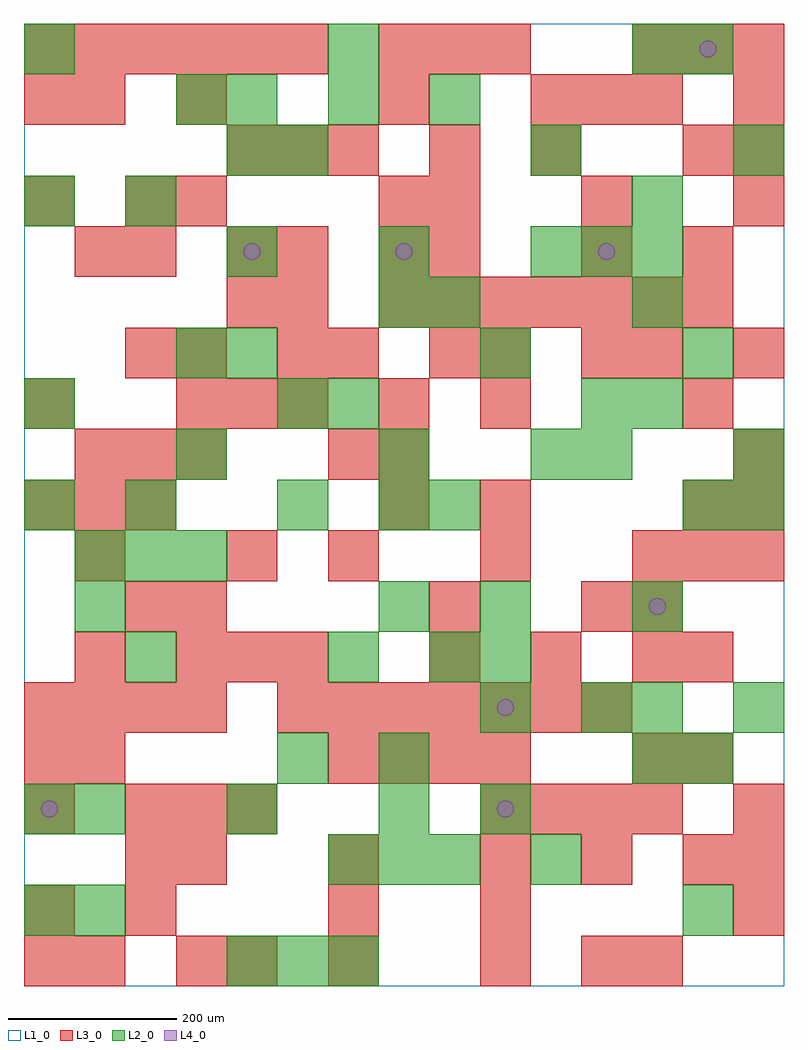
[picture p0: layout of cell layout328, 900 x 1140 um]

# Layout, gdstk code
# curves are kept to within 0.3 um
import gdstk
lib = gdstk.Library(unit=1e-6, precision=1e-09)
def R(c, l, rs):  # rectangles x0, y0, x1, y1
    for r in rs: c.add(gdstk.rectangle(r[:2], r[2:], *l))
def A(c, l, x, y, w, h, nx, ny, dx, dy):  # array of equal rectangles
    R(c, l, [(x+i*dx, y+j*dy, x+i*dx+w, y+j*dy+h) for i in range(nx) for j in range(ny)])
def P(c, l, *ps):  # polygons
    for p in ps: c.add(gdstk.Polygon(p, *l))
L1_0 = (1, 0)
L2_0 = (2, 0)
L3_0 = (3, 0)
L4_0 = (4, 0)

layout328 = lib.new_cell('layout328')
R(layout328, L1_0, [(0,0,900,1140)])
A(layout328, L2_0, 240, 0, 60, 60, 3, 1, 60, 0)
A(layout328, L2_0, 360, 120, 60, 60, 3, 1, 60, 0)
A(layout328, L2_0, 60, 180, 60, 60, 3, 1, 180, 0)
A(layout328, L2_0, 540, 300, 60, 60, 1, 3, 0, 60)
A(layout328, L2_0, 60, 480, 60, 60, 3, 1, 60, 0)
A(layout328, L2_0, 720, 780, 60, 60, 1, 3, 0, 60)
A(layout328, L2_0, 240, 840, 60, 60, 3, 1, 180, 0)
A(layout328, L2_0, 240, 1020, 60, 60, 3, 1, 120, 0)
A(layout328, L2_0, 0, 1080, 60, 60, 3, 1, 360, 0)
R(layout328, L2_0, [(0,60,60,120), (60,60,120,120), (780,60,840,120), (600,120,660,180), (0,180,60,240), (540,180,600,240), (300,240,360,300), (420,240,480,300), (720,240,780,300), (780,240,840,300), (660,300,720,360), (720,300,780,360), (840,300,900,360), (120,360,180,420), (360,360,420,420), (480,360,540,420), (60,420,120,480), (420,420,480,480), (720,420,780,480), (0,540,60,600), (120,540,180,600), (300,540,360,600), (420,540,480,600), (480,540,540,600), (780,540,840,600), (840,540,900,600), (180,600,240,660), (420,600,480,660), (600,600,660,660), (660,600,720,660), (840,600,900,660), (0,660,60,720), (300,660,360,720), (360,660,420,720), (660,660,720,720), (720,660,780,720), (180,720,240,780), (240,720,300,780), (540,720,600,780), (780,720,840,780), (420,780,480,840), (480,780,540,840), (660,840,720,900), (0,900,60,960), (120,900,180,960), (240,960,300,1020), (300,960,360,1020), (600,960,660,1020), (840,960,900,1020), (180,1020,240,1080), (780,1080,840,1140)])
A(layout328, L3_0, 840, 60, 60, 60, 1, 3, 0, 60)
A(layout328, L3_0, 120, 120, 60, 60, 1, 3, 0, 300)
A(layout328, L3_0, 180, 120, 60, 60, 3, 1, 180, 0)
A(layout328, L3_0, 660, 120, 60, 60, 1, 3, 0, 300)
A(layout328, L3_0, 780, 120, 60, 60, 1, 4, 0, 120)
A(layout328, L3_0, 120, 180, 60, 60, 3, 1, 60, 0)
A(layout328, L3_0, 540, 180, 60, 60, 4, 1, 60, 0)
A(layout328, L3_0, 60, 240, 60, 60, 1, 3, 0, 120)
A(layout328, L3_0, 360, 240, 60, 60, 4, 1, 60, 0)
A(layout328, L3_0, 0, 300, 60, 60, 4, 1, 60, 0)
A(layout328, L3_0, 300, 300, 60, 60, 7, 1, 60, 0)
A(layout328, L3_0, 180, 360, 60, 60, 3, 2, 60, 300)
A(layout328, L3_0, 480, 360, 60, 60, 3, 1, 120, 0)
A(layout328, L3_0, 360, 480, 60, 60, 3, 1, 180, 0)
A(layout328, L3_0, 840, 480, 60, 60, 1, 3, 0, 60)
A(layout328, L3_0, 0, 540, 60, 60, 3, 1, 60, 0)
A(layout328, L3_0, 420, 540, 60, 60, 1, 3, 0, 60)
A(layout328, L3_0, 60, 600, 60, 60, 3, 1, 60, 0)
A(layout328, L3_0, 300, 720, 60, 60, 1, 3, 0, 60)
A(layout328, L3_0, 480, 720, 60, 60, 1, 3, 0, 120)
A(layout328, L3_0, 420, 780, 60, 60, 7, 1, 60, 0)
A(layout328, L3_0, 480, 900, 60, 60, 3, 1, 180, 0)
A(layout328, L3_0, 240, 960, 60, 60, 3, 1, 60, 0)
A(layout328, L3_0, 600, 1020, 60, 60, 3, 1, 60, 0)
A(layout328, L3_0, 0, 1080, 60, 60, 6, 1, 60, 0)
A(layout328, L3_0, 420, 1080, 60, 60, 3, 1, 60, 0)
A(layout328, L3_0, 720, 1080, 60, 60, 3, 1, 60, 0)
R(layout328, L3_0, [(0,0,60,60), (60,0,120,60), (180,0,240,60), (240,0,300,60), (360,0,420,60), (540,0,600,60), (660,0,720,60), (720,0,780,60), (0,60,60,120), (120,60,180,120), (360,60,420,120), (540,60,600,120), (0,180,60,240), (0,240,60,300), (720,240,780,300), (180,420,240,480), (480,420,540,480), (720,420,780,480), (240,480,300,540), (540,540,600,600), (780,540,840,600), (360,600,420,660), (0,660,60,720), (540,660,600,720), (780,660,840,720), (180,720,240,780), (360,720,420,780), (540,720,600,780), (720,720,780,780), (840,720,900,780), (240,780,300,840), (60,840,120,900), (120,840,180,900), (240,840,300,900), (420,840,480,900), (660,840,720,900), (780,840,840,900), (0,900,60,960), (120,900,180,960), (180,900,240,960), (420,900,480,960), (600,960,660,1020), (780,960,840,1020), (840,960,900,1020), (0,1020,60,1080), (60,1020,120,1080), (180,1020,240,1080), (420,1020,480,1080), (840,1020,900,1080)])
P(layout328, L4_0, [(40,210),(39.239,213.827),(37.071,217.071),(33.827,219.239),(30,220),(26.173,219.239),(22.929,217.071),(20.761,213.827),(20,210),(20.761,206.173),(22.929,202.929),(26.173,200.761),(30,200),(33.827,200.761),(37.071,202.929),(39.239,206.173)],
  [(280,870),(279.239,873.827),(277.071,877.071),(273.827,879.239),(270,880),(266.173,879.239),(262.929,877.071),(260.761,873.827),(260,870),(260.761,866.173),(262.929,862.929),(266.173,860.761),(270,860),(273.827,860.761),(277.071,862.929),(279.239,866.173)],
  [(460,870),(459.239,873.827),(457.071,877.071),(453.827,879.239),(450,880),(446.173,879.239),(442.929,877.071),(440.761,873.827),(440,870),(440.761,866.173),(442.929,862.929),(446.173,860.761),(450,860),(453.827,860.761),(457.071,862.929),(459.239,866.173)],
  [(580,210),(579.239,213.827),(577.071,217.071),(573.827,219.239),(570,220),(566.173,219.239),(562.929,217.071),(560.761,213.827),(560,210),(560.761,206.173),(562.929,202.929),(566.173,200.761),(570,200),(573.827,200.761),(577.071,202.929),(579.239,206.173)],
  [(580,330),(579.239,333.827),(577.071,337.071),(573.827,339.239),(570,340),(566.173,339.239),(562.929,337.071),(560.761,333.827),(560,330),(560.761,326.173),(562.929,322.929),(566.173,320.761),(570,320),(573.827,320.761),(577.071,322.929),(579.239,326.173)],
  [(700,870),(699.239,873.827),(697.071,877.071),(693.827,879.239),(690,880),(686.173,879.239),(682.929,877.071),(680.761,873.827),(680,870),(680.761,866.173),(682.929,862.929),(686.173,860.761),(690,860),(693.827,860.761),(697.071,862.929),(699.239,866.173)],
  [(760,450),(759.239,453.827),(757.071,457.071),(753.827,459.239),(750,460),(746.173,459.239),(742.929,457.071),(740.761,453.827),(740,450),(740.761,446.173),(742.929,442.929),(746.173,440.761),(750,440),(753.827,440.761),(757.071,442.929),(759.239,446.173)],
  [(820,1110),(819.239,1113.827),(817.071,1117.071),(813.827,1119.239),(810,1120),(806.173,1119.239),(802.929,1117.071),(800.761,1113.827),(800,1110),(800.761,1106.173),(802.929,1102.929),(806.173,1100.761),(810,1100),(813.827,1100.761),(817.071,1102.929),(819.239,1106.173)])

lib.write_gds('layout328.gds')
